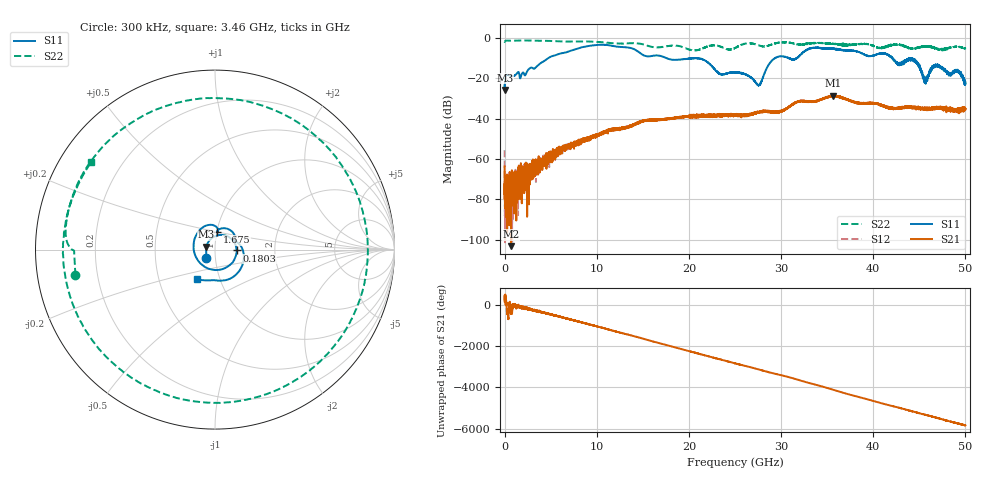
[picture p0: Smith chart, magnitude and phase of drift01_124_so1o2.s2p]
!Created with skrf (http://scikit-rf.org).
# Hz S RI R 50.0
!freq ReS11 ImS11 ReS21 ImS21 ReS12 ImS12 ReS22 ImS22
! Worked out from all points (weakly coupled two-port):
!   10001 points, 300 kHz to 50 GHz, reference 50 ohm
!   highest |S21| = -28.64 dB at 35.63 GHz (marker M1); lowest = -103.1 dB at 690.3 MHz (marker M2)
!   lowest |S11| = -25.8 dB at 5.3 MHz (marker M3), VSWR 1.11, Z = 45.3 + j1.42 ohm
!   |S11| at or under -10 dB: start of sweep to 4.771 GHz; 17.52 GHz to 29.37 GHz (11.85 GHz wide, 50.5 % of centre); 43.86 GHz to end of sweep (the widest 3 of 13)
!   |S22| runs from -6.5 to -1.4 dB; largest |S21 - S12| = 0.004
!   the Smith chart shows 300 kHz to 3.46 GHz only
!   S11 on the Smith chart (normalised r, x): 300 kHz: 0.90, -0.09; 180.3 MHz: 1.27, -0.01; 1.675 GHz: 1.01, +0.20; 3.46 GHz: 0.78, -0.26
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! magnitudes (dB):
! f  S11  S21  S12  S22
! 300 kHz  -23.4  -63.7  -55.6  -2.0
! 5.3 MHz  -25.8  -77.0  -79.0  -2.1
! 180.3 MHz  -18.4  -84.4  -83.2  -1.4
! 690.3 MHz  -19.0  -103.1  -76.0  -1.5
! 1.675 GHz  -20.1  -72.0  -74.4  -1.4
! 3.46 GHz  -14.3  -66.7  -61.8  -1.5
! 8.335 GHz  -4.8  -50.5  -50.8  -1.8
! 16.67 GHz  -8.8  -40.7  -40.5  -4.8
! 21.22 GHz  -10.3  -39.0  -38.5  -5.7
! 23.39 GHz  -17.9  -37.9  -38.5  -4.3
! 25 GHz  -17.1  -38.7  -38.5  -5.1
! 27.58 GHz  -23.5  -36.7  -36.6  -3.8
! 29.28 GHz  -10.3  -36.7  -36.9  -2.9
! 31.48 GHz  -10.8  -32.3  -32.2  -2.9
! 33.34 GHz  -5.1  -31.6  -31.5  -2.6
! 35.63 GHz  -5.6  -28.6  -28.9  -3.0
! 41.67 GHz  -8.6  -34.6  -34.9  -4.0
! 42.78 GHz  -13.4  -34.8  -35.0  -3.6
! 44.43 GHz  -11.3  -34.6  -34.3  -5.3
! 45.63 GHz  -20.9  -34.9  -35.1  -4.3
! 46.94 GHz  -13.5  -34.8  -34.6  -5.5
! 50 GHz  -22.0  -35.3  -34.9  -5.3
